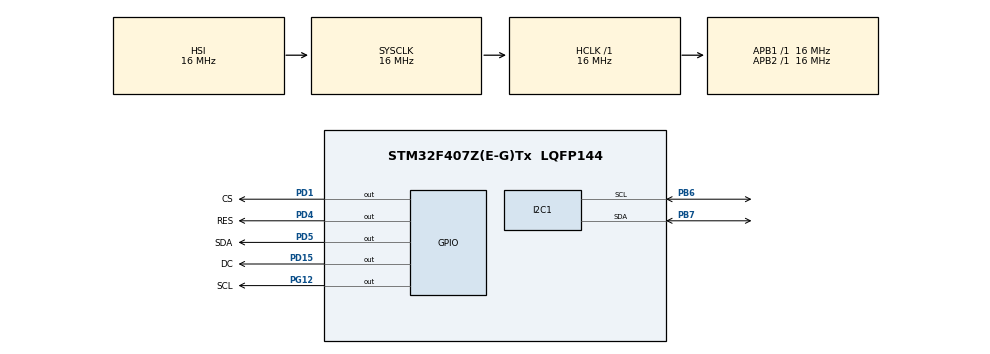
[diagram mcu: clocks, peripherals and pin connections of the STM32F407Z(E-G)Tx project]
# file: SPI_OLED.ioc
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Mcu.Family=STM32F4
Mcu.Name=STM32F407Z(E-G)Tx
Mcu.Package=LQFP144
NVIC.PriorityGroup=NVIC_PRIORITYGROUP_4
PA13.Mode=Serial_Wire
PA13.Signal=SYS_JTMS-SWDIO
PA14.Mode=Serial_Wire
PA14.Signal=SYS_JTCK-SWCLK
PB6.Mode=I2C
PB6.Signal=I2C1_SCL
PB7.Mode=I2C
PB7.Signal=I2C1_SDA
PD1.GPIO_Label=CS
PD1.GPIO_ModeDefaultOutputPP=GPIO_MODE_OUTPUT_PP
PD1.GPIO_PuPd=GPIO_PULLUP
PD1.GPIO_Speed=GPIO_SPEED_FREQ_HIGH
PD1.PinState=GPIO_PIN_RESET
PD1.Signal=GPIO_Output
PD15.GPIO_Label=DC
PD15.GPIO_PuPd=GPIO_PULLUP
PD15.GPIO_Speed=GPIO_SPEED_FREQ_HIGH
PD15.Signal=GPIO_Output
PD4.GPIO_Label=RES
PD4.GPIO_PuPd=GPIO_PULLUP
PD4.GPIO_Speed=GPIO_SPEED_FREQ_HIGH
PD4.PinState=GPIO_PIN_RESET
PD4.Signal=GPIO_Output
PD5.GPIO_Label=SDA
PD5.GPIO_PuPd=GPIO_PULLUP
PD5.GPIO_Speed=GPIO_SPEED_FREQ_HIGH
PD5.Signal=GPIO_Output
PG12.GPIO_Label=SCL
PG12.GPIO_PuPd=GPIO_PULLUP
PG12.GPIO_Speed=GPIO_SPEED_FREQ_HIGH
PG12.Signal=GPIO_Output
PH0-OSC_IN.Mode=HSE-External-Oscillator
PH0-OSC_IN.Signal=RCC_OSC_IN
PH1-OSC_OUT.Mode=HSE-External-Oscillator
PH1-OSC_OUT.Signal=RCC_OSC_OUT
ProjectManager.HeapSize=0x200
ProjectManager.StackSize=0x400
ProjectManager.TargetToolchain=MDK-ARM V5.27
RCC.AHBFreq_Value=16000000
RCC.APB1Freq_Value=16000000
RCC.APB2Freq_Value=16000000
RCC.CortexFreq_Value=16000000
RCC.HSE_VALUE=25000000
RCC.HSI_VALUE=16000000
RCC.LSE_VALUE=32768
RCC.SYSCLKFreq_VALUE=16000000
RCC.VCOOutputFreq_Value=192000000
board=custom

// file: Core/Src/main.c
/* USER CODE BEGIN Header */
/**
  ******************************************************************************
  * @file           : main.c
  * @brief          : Main program body
  ******************************************************************************
  * @attention
  *
  * <h2><center>&copy; Copyright (c) 2020 STMicroelectronics.
  * All rights reserved.</center></h2>
  *
  * This software component is licensed by ST under BSD 3-Clause license,
  * the "License"; You may not use this file except in compliance with the
  * License. You may obtain a copy of the License at:
  *                        opensource.org/licenses/BSD-3-Clause
  *
  ******************************************************************************
  */
/* USER CODE END Header */
#include "main.h"
#include "i2c.h"
#include "gpio.h"
#include "oled.h"

void SystemClock_Config(void);

/* USER CODE BEGIN 0 */
  uint16_t x=0;

	const uint16_t adcx[100] =  {
	2047, 2175, 2303, 2430, 2556, 2679, 2800, 2918, 3033, 3143,
	3250, 3351, 3448, 3539, 3624, 3702, 3775, 3840, 3899, 3950,
	3993, 4029, 4057, 4078, 4090, 4095, 4090, 4078, 4058, 4030,
	3994, 3951, 3900, 3842, 3777, 3704, 3626, 3541, 3450, 3354,
	3252, 3146, 3036, 2921, 2803, 2682, 2559, 2434, 2307, 2179,
	2050, 1922, 1794, 1667, 1541, 1418, 1297, 1179, 1064, 953,
	847, 	745, 	649, 	558, 	472, 	393, 	321, 	255, 	197, 	145,
	102, 	65,		37, 	17, 	4, 		0, 		4, 		16, 	35, 	63,
	99, 	142, 	193, 	251, 	316, 	388, 	466, 	551, 	642, 	738,
	839, 	945, 	1056, 1170, 1288, 1409, 1532, 1657, 1784, 1912};

/* USER CODE END 0 */

int main(void)
{

  /* MCU Configuration--------------------------------------------------------*/

  /* Reset of all peripherals, Initializes the Flash interface and the Systick. */
  HAL_Init();

  /* Configure the system clock */
  SystemClock_Config();

  /* Initialize all configured peripherals */
    MX_GPIO_Init();
    MX_I2C1_Init();
	  OLED_Init();
  /* USER CODE BEGIN 2 */
		OLED_ShowChinese(0,0,0,16);//
		OLED_ShowChinese(18,0,1,16);//
		OLED_ShowChinese(36,0,2,16);//
		OLED_ShowChinese(54,0,3,16);//
		OLED_ShowChinese(72,0,4,16);//
		OLED_ShowChinese(90,0,5,16);//
		OLED_DrawLine(0,16,124,16);
  /* USER CODE END 2 */
		//for(x=0;x<128;x=(x+1)%128)
		//{
		//	OLED_DrawPoint(x,(uint16_t)adcx[100]*48/4096+16);
	  //}
  /* Infinite loop */
  while (1)
  {
     OLED_Refresh();
  }
}

void SystemClock_Config(void)
{
  RCC_OscInitTypeDef RCC_OscInitStruct = {0};
  RCC_ClkInitTypeDef RCC_ClkInitStruct = {0};

  /** Configure the main internal regulator output voltage
  */
  __HAL_RCC_PWR_CLK_ENABLE();
  __HAL_PWR_VOLTAGESCALING_CONFIG(PWR_REGULATOR_VOLTAGE_SCALE1);
  /** Initializes the RCC Oscillators according to the specified parameters
  * in the RCC_OscInitTypeDef structure.
  */
  RCC_OscInitStruct.OscillatorType = RCC_OSCILLATORTYPE_HSI;
  RCC_OscInitStruct.HSIState = RCC_HSI_ON;
  RCC_OscInitStruct.HSICalibrationValue = RCC_HSICALIBRATION_DEFAULT;
  RCC_OscInitStruct.PLL.PLLState = RCC_PLL_NONE;
  if (HAL_RCC_OscConfig(&RCC_OscInitStruct) != HAL_OK)
  {
    Error_Handler();
  }
  /** Initializes the CPU, AHB and APB buses clocks
  */
  RCC_ClkInitStruct.ClockType = RCC_CLOCKTYPE_HCLK|RCC_CLOCKTYPE_SYSCLK
                              |RCC_CLOCKTYPE_PCLK1|RCC_CLOCKTYPE_PCLK2;
  RCC_ClkInitStruct.SYSCLKSource = RCC_SYSCLKSOURCE_HSI;
  RCC_ClkInitStruct.AHBCLKDivider = RCC_SYSCLK_DIV1;
  RCC_ClkInitStruct.APB1CLKDivider = RCC_HCLK_DIV1;
  RCC_ClkInitStruct.APB2CLKDivider = RCC_HCLK_DIV1;

  if (HAL_RCC_ClockConfig(&RCC_ClkInitStruct, FLASH_LATENCY_0) != HAL_OK)
  {
    Error_Handler();
  }
}

void Error_Handler(void)
{
}

/************************ (C) COPYRIGHT STMicroelectronics *****END OF FILE****/
